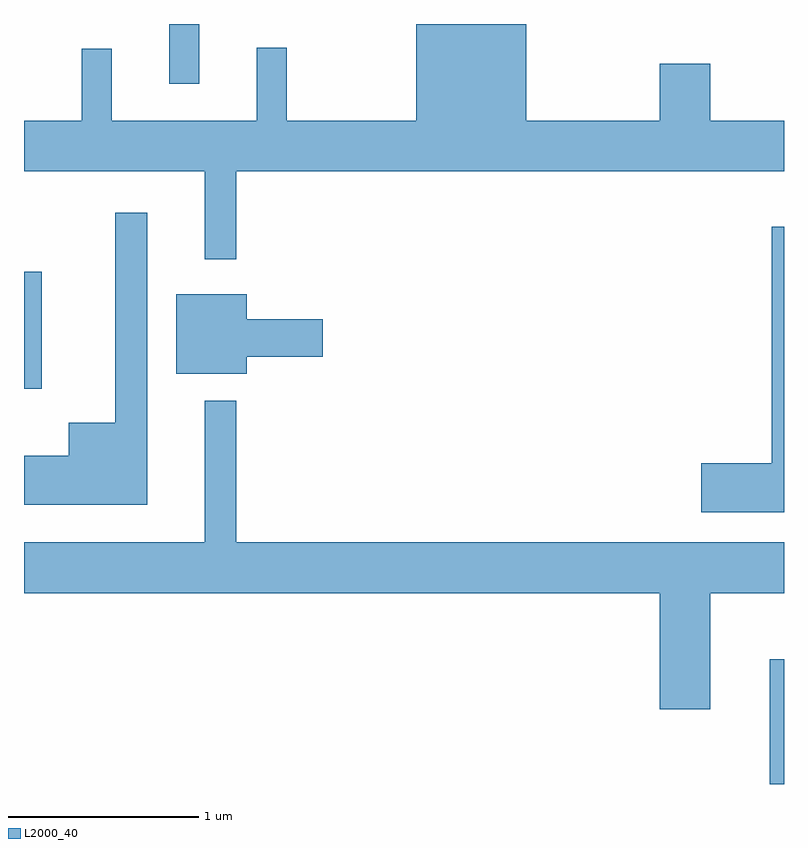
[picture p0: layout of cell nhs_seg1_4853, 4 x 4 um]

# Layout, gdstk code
import gdstk
lib = gdstk.Library(unit=1e-6, precision=1e-09)
def R(c, l, rs):  # rectangles x0, y0, x1, y1
    for r in rs: c.add(gdstk.rectangle(r[:2], r[2:], *l))
def P(c, l, *ps):  # polygons
    for p in ps: c.add(gdstk.Polygon(p, *l))
L2000_40 = (2000, 40)

nhs_seg1_4853 = lib.new_cell('nhs_seg1_4853')
R(nhs_seg1_4853, L2000_40, [(335.536,869.712,335.611,870.369), (331.611,871.791,331.704,872.409), (332.376,873.398,332.534,873.712)])
P(nhs_seg1_4853, L2000_40, [(332.729,872.936),(335.611,872.936),(335.611,873.204),(335.224,873.204),(335.224,873.504),(334.956,873.504),(334.956,873.204),(334.254,873.204),(334.254,873.712),(333.676,873.712),(333.676,873.204),(332.994,873.204),(332.994,873.588),(332.836,873.588),(332.836,873.204),(332.074,873.204),(332.074,873.583),(331.916,873.583),(331.916,873.204),(331.611,873.204),(331.611,872.936),(332.561,872.936),(332.561,872.473),(332.729,872.473)],
  [(332.259,872.718),(332.091,872.718),(332.091,871.614),(331.846,871.614),(331.846,871.439),(331.611,871.439),(331.611,871.181),(332.259,871.181)],
  [(335.611,872.644),(335.546,872.644),(335.546,871.399),(335.176,871.399),(335.176,871.141),(335.611,871.141)],
  [(332.784,871.961),(333.184,871.961),(333.184,872.159),(332.784,872.159),(332.784,872.289),(332.411,872.289),(332.411,871.871),(332.784,871.871)],
  [(335.224,870.716),(335.611,870.716),(335.611,870.984),(332.729,870.984),(332.729,871.728),(332.561,871.728),(332.561,870.984),(331.611,870.984),(331.611,870.716),(334.956,870.716),(334.956,870.106),(335.224,870.106)])

lib.write_gds('nhs_seg1_4853.gds')
